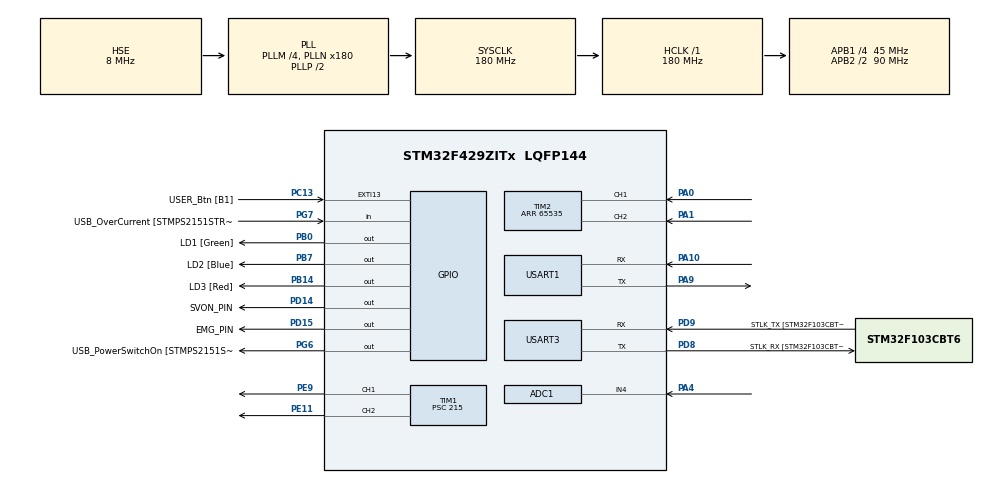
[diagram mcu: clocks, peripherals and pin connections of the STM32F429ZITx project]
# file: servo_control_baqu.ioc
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ADC1.Channel-0\#ChannelRegularConversion=ADC_CHANNEL_4
ADC1.NbrOfConversionFlag=1
ADC1.Rank-0\#ChannelRegularConversion=1
ADC1.SamplingTime-0\#ChannelRegularConversion=ADC_SAMPLETIME_3CYCLES
ADC1.master=1
Mcu.Family=STM32F4
Mcu.Name=STM32F429ZITx
Mcu.Package=LQFP144
NVIC.PriorityGroup=NVIC_PRIORITYGROUP_4
PA0/WKUP.Signal=S_TIM2_CH1_ETR
PA1.Signal=S_TIM2_CH2
PA10.Mode=Asynchronous
PA10.Signal=USART1_RX
PA11.GPIO_Label=USB_DM
PA11.Signal=USB_OTG_FS_DM
PA12.GPIO_Label=USB_DP
PA12.Signal=USB_OTG_FS_DP
PA13.GPIO_Label=TMS
PA13.Mode=Serial_Wire
PA13.Signal=SYS_JTMS-SWDIO
PA14.GPIO_Label=TCK
PA14.Mode=Serial_Wire
PA14.Signal=SYS_JTCK-SWCLK
PA2.GPIO_Label=RMII_MDIO [LAN8742A-CZ-TR_MDIO]
PA2.Signal=ETH_MDIO
PA4.Signal=ADCx_IN4
PA7.GPIO_Label=RMII_CRS_DV [LAN8742A-CZ-TR_CRS_DV]
PA7.Signal=ETH_CRS_DV
PA8.GPIO_Label=USB_SOF [TP1]
PA8.Signal=USB_OTG_FS_SOF
PA9.Mode=Asynchronous
PA9.Signal=USART1_TX
PB0.GPIO_Label=LD1 [Green]
PB0.Signal=GPIO_Output
PB13.GPIO_Label=RMII_TXD1 [LAN8742A-CZ-TR_TXD1]
PB13.Signal=ETH_TXD1
PB14.GPIO_Label=LD3 [Red]
PB14.Signal=GPIO_Output
PB7.GPIO_Label=LD2 [Blue]
PB7.Signal=GPIO_Output
PC1.GPIO_Label=RMII_MDC [LAN8742A-CZ-TR_MDC]
PC1.Signal=ETH_MDC
PC13.GPIO_Label=USER_Btn [B1]
PC13.Signal=GPXTI13
PC14/OSC32_IN.Mode=LSE-External-Oscillator
PC14/OSC32_IN.Signal=RCC_OSC32_IN
PC15/OSC32_OUT.Mode=LSE-External-Oscillator
PC15/OSC32_OUT.Signal=RCC_OSC32_OUT
PC4.GPIO_Label=RMII_RXD0 [LAN8742A-CZ-TR_RXD0]
PC4.Signal=ETH_RXD0
PC5.GPIO_Label=RMII_RXD1 [LAN8742A-CZ-TR_RXD1]
PC5.Signal=ETH_RXD1
PD14.GPIO_Label=SVON_PIN
PD14.PinState=GPIO_PIN_SET
PD14.Signal=GPIO_Output
PD15.GPIO_Label=EMG_PIN
PD15.PinState=GPIO_PIN_SET
PD15.Signal=GPIO_Output
PD8.GPIO_Label=STLK_RX [STM32F103CBT6_PA3]
PD8.Mode=Asynchronous
PD8.Signal=USART3_TX
PD9.GPIO_Label=STLK_TX [STM32F103CBT6_PA2]
PD9.Mode=Asynchronous
PD9.Signal=USART3_RX
PE11.Signal=S_TIM1_CH2
PE9.Signal=S_TIM1_CH1
PG11.GPIO_Label=RMII_TX_EN [LAN8742A-CZ-TR_TXEN]
PG11.Signal=ETH_TX_EN
PG13.GPIO_Label=RMII_TXD0 [LAN8742A-CZ-TR_TXD0]
PG13.Signal=ETH_TXD0
PG6.GPIO_Label=USB_PowerSwitchOn [STMPS2151STR_EN]
PG6.Signal=GPIO_Output
PG7.GPIO_Label=USB_OverCurrent [STMPS2151STR_FAULT]
PG7.Signal=GPIO_Input
PH0/OSC_IN.GPIO_Label=MCO [STM32F103CBT6_PA8]
PH0/OSC_IN.Mode=HSE-External-Clock-Source
PH0/OSC_IN.Signal=RCC_OSC_IN
PH1/OSC_OUT.Mode=HSE-External-Clock-Source
PH1/OSC_OUT.Signal=RCC_OSC_OUT
ProjectManager.HeapSize=0x200
ProjectManager.StackSize=0x400
ProjectManager.TargetToolchain=STM32CubeIDE
RCC.48MHZClocksFreq_Value=51428571.428571425
RCC.AHBFreq_Value=180000000
RCC.APB1CLKDivider=RCC_HCLK_DIV4
RCC.APB1Freq_Value=45000000
RCC.APB1TimFreq_Value=90000000
RCC.APB2CLKDivider=RCC_HCLK_DIV2
RCC.APB2Freq_Value=90000000
RCC.APB2TimFreq_Value=180000000
RCC.CortexFreq_Value=180000000
RCC.HCLKFreq_Value=180000000
RCC.HSE_VALUE=8000000
RCC.HSI_VALUE=16000000
RCC.PLLM=4
RCC.PLLMUL=RCC_PLL_MUL9
RCC.PLLN=180
RCC.PLLQ=7
RCC.PLLSourceVirtual=RCC_PLLSOURCE_HSE
RCC.PRESCALERUSB=RCC_USBCLKSOURCE_PLL_DIV1_5
RCC.SYSCLKFreq_VALUE=180000000
RCC.SYSCLKSource=RCC_SYSCLKSOURCE_PLLCLK
RCC.SYSCLKSourceVirtual=RCC_SYSCLKSOURCE_PLLCLK
RCC.USBFreq_Value=48000000
RCC.VCOOutputFreq_Value=360000000
SH.ADCx_IN4.0=ADC1_IN4,IN4
SH.S_TIM1_CH1.0=TIM1_CH1,PWM Generation1 CH1
SH.S_TIM1_CH2.0=TIM1_CH2,PWM Generation2 CH2
SH.S_TIM2_CH1_ETR.0=TIM2_CH1,Encoder_Interface
SH.S_TIM2_CH2.0=TIM2_CH2,Encoder_Interface
TIM1.Channel-PWM\ Generation1\ CH1=TIM_CHANNEL_1
TIM1.Channel-PWM\ Generation2\ CH2=TIM_CHANNEL_2
TIM1.OC1Preload_PWM=DISABLE
TIM1.OC2Preload_PWM=DISABLE
TIM1.Period=9
TIM1.Prescaler=215
TIM1.Pulse-PWM\ Generation1\ CH1=5
TIM1.Pulse-PWM\ Generation2\ CH2=5
TIM2.EncoderMode=TIM_ENCODERMODE_TI12
TIM2.Period=65535
USART1.VirtualMode=VM_ASYNC
USART3.VirtualMode=VM_ASYNC
VP_TIM1_VS_ClockSourceINT.Mode=Internal
board=NUCLEO-F429ZI

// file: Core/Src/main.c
/* USER CODE BEGIN Header */
/**
  ******************************************************************************
  * @file           : main.c
  * @brief          : Main program body
  ******************************************************************************
  * @attention
  *
  * Copyright (c) 2026 STMicroelectronics.
  * All rights reserved.
  *
  * This software is licensed under terms that can be found in the LICENSE file
  * in the root directory of this software component.
  * If no LICENSE file comes with this software, it is provided AS-IS.
  *
  ******************************************************************************
  */
/* USER CODE END Header */
#include "main.h"
#include "adc.h"
#include "tim.h"
#include "usart.h"
#include "gpio.h"

/* USER CODE BEGIN Includes */
#include "pulse_control.h"
#include "relay_control.h"
#include "encoder_reader.h"
#include "position_control.h"
#include <string.h>
#include <stdio.h>
/* USER CODE END Includes */

/* USER CODE BEGIN PV */
extern volatile uint8_t interrupt_flag;

/* USER CODE END PV */

void SystemClock_Config(void);

int main(void)
{

  /* MCU Configuration--------------------------------------------------------*/

  /* Reset of all peripherals, Initializes the Flash interface and the Systick. */
  HAL_Init();

  /* Configure the system clock */
  SystemClock_Config();

  /* Initialize all configured peripherals */
  MX_GPIO_Init();
  MX_USART3_UART_Init();
  MX_USART1_UART_Init();
  MX_ADC1_Init();
  MX_TIM1_Init();
  MX_TIM2_Init();
  /* USER CODE BEGIN 2 */
  HAL_TIM_PWM_Start(&htim1, TIM_CHANNEL_1);
  HAL_TIM_PWM_Start(&htim1, TIM_CHANNEL_2);
  HAL_TIM_Encoder_Start(&htim2, TIM_CHANNEL_ALL);

  Relay_Init();
  PulseControl_Init();
  EncoderReader_Init();
  PositionControl_Init();

  char msg[] = "Servo Start!\r\n";
  HAL_UART_Transmit(&huart3, (uint8_t*)msg, strlen(msg), 100);

  Relay_ServoOn();
  HAL_Delay(1000);
  PositionControl_SetTarget(20.0f);
  PositionControl_Enable();
  /* USER CODE END 2 */

  /* Infinite loop */
  while (1)
  {
    if(interrupt_flag == 1) {
    	interrupt_flag = 0;
    	PositionControl_Update();
    }
    //flage 체크 + PositionControl_Update() 호출

    /* USER CODE BEGIN 3 */

  }
  //HAL_Delat()의 치명적 문제 : 1ms마다 inerrupt_flag가 올라와도, CPU가 HAL_Delay()안에서 블로킹 되어 있으니 PositionControl_Update()가 호출되지 않음
  //PID 제어에서 주기가 깨지면 제어 성능이 망가진다.
  /* USER CODE END 3 */
}

void SystemClock_Config(void)
{
  RCC_OscInitTypeDef RCC_OscInitStruct = {0};
  RCC_ClkInitTypeDef RCC_ClkInitStruct = {0};

  /** Configure the main internal regulator output voltage
  */
  __HAL_RCC_PWR_CLK_ENABLE();
  __HAL_PWR_VOLTAGESCALING_CONFIG(PWR_REGULATOR_VOLTAGE_SCALE1);

  /** Initializes the RCC Oscillators according to the specified parameters
  * in the RCC_OscInitTypeDef structure.
  */
  RCC_OscInitStruct.OscillatorType = RCC_OSCILLATORTYPE_HSE;
  RCC_OscInitStruct.HSEState = RCC_HSE_BYPASS;
  RCC_OscInitStruct.PLL.PLLState = RCC_PLL_ON;
  RCC_OscInitStruct.PLL.PLLSource = RCC_PLLSOURCE_HSE;
  RCC_OscInitStruct.PLL.PLLM = 4;
  RCC_OscInitStruct.PLL.PLLN = 180;
  RCC_OscInitStruct.PLL.PLLP = RCC_PLLP_DIV2;
  RCC_OscInitStruct.PLL.PLLQ = 7;

  if (HAL_RCC_OscConfig(&RCC_OscInitStruct) != HAL_OK)
  {
    Error_Handler();
  }

  /** Activate the Over-Drive mode
  */
  if (HAL_PWREx_EnableOverDrive() != HAL_OK)
  {
    Error_Handler();
  }

  /** Initializes the CPU, AHB and APB buses clocks
  */
  RCC_ClkInitStruct.ClockType = RCC_CLOCKTYPE_HCLK|RCC_CLOCKTYPE_SYSCLK
                              |RCC_CLOCKTYPE_PCLK1|RCC_CLOCKTYPE_PCLK2;
  RCC_ClkInitStruct.SYSCLKSource = RCC_SYSCLKSOURCE_PLLCLK;
  RCC_ClkInitStruct.AHBCLKDivider = RCC_SYSCLK_DIV1;
  RCC_ClkInitStruct.APB1CLKDivider = RCC_HCLK_DIV4;
  RCC_ClkInitStruct.APB2CLKDivider = RCC_HCLK_DIV2;

  if (HAL_RCC_ClockConfig(&RCC_ClkInitStruct, FLASH_LATENCY_5) != HAL_OK)
  {
    Error_Handler();
  }
}

/* USER CODE BEGIN 4 */

// printf UART 리다이렉션
int __io_putchar(int ch)
{
    HAL_UART_Transmit(&huart3, (uint8_t *)&ch, 1, HAL_MAX_DELAY);
    return ch;
}

/* USER CODE END 4 */

void Error_Handler(void)
{
  __disable_irq();
  while (1)
  {
  }
}
